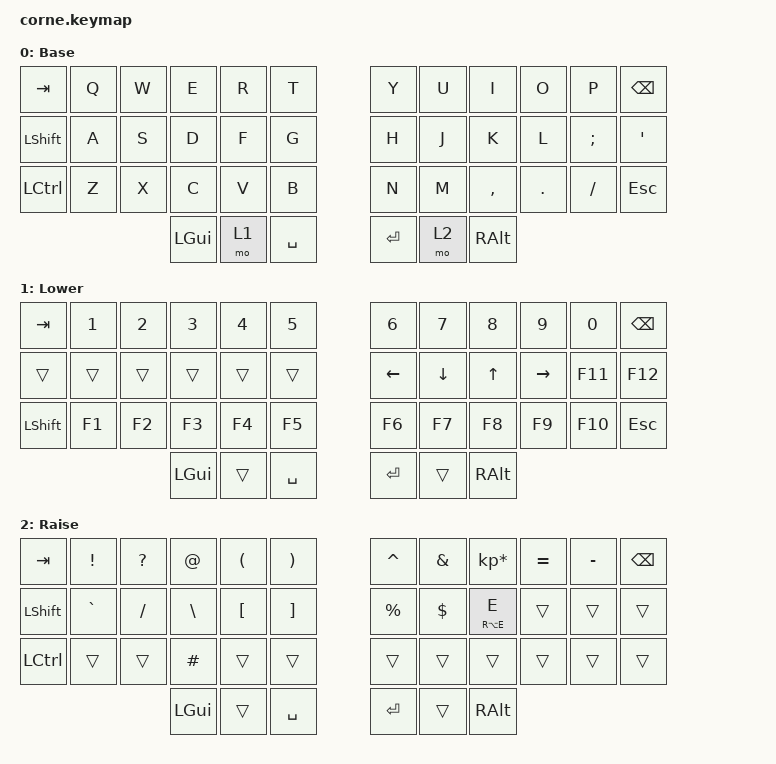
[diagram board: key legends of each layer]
/*
 * Copyright (c) 2020 The ZMK Contributors
 *
 * SPDX-License-Identifier: MIT
 */

#include <behaviors.dtsi>
#include <dt-bindings/zmk/keys.h>

/ {
    keymap {
        compatible = "zmk,keymap";

        default_layer {
            // -----------------------------------------------------------------------------------------
            // |  TAB |  Q  |  W  |  E  |  R  |  T  |   |  Y  |  U   |  I  |  O  |  P  | BKSP |
            // | CTRL |  A  |  S  |  D  |  F  |  G  |   |  H  |  J   |  K  |  L  |  ;  |  '   |
            // | SHFT |  Z  |  X  |  C  |  V  |  B  |   |  N  |  M   |  ,  |  .  |  /  | ESC  |
            //                    | GUI | LWR | SPC |   | ENT | RSE  | ALT |

            display-name = "Base";
            bindings = <
&kp TAB           &kp Q  &kp W  &kp E     &kp R  &kp T        &kp Y    &kp U  &kp I      &kp O    &kp P     &kp BSPC
&kp LEFT_SHIFT    &kp A  &kp S  &kp D     &kp F  &kp G        &kp H    &kp J  &kp K      &kp L    &kp SEMI  &kp SQT
&kp LEFT_CONTROL  &kp Z  &kp X  &kp C     &kp V  &kp B        &kp N    &kp M  &kp COMMA  &kp DOT  &kp FSLH  &kp ESC
                                &kp LGUI  &mo 1  &kp SPACE    &kp RET  &mo 2  &kp RALT
            >;
        };

        lower_layer {
            // -----------------------------------------------------------------------------------------
            // |  TAB |  1  |  2  |  3  |  4  |  5  |   |  6  |  7  |  8  |  9  |  0  | BKSP |
            // | BTCLR| BT1 | BT2 | BT3 | BT4 | BT5 |   | LFT | DWN |  UP | RGT |     |      |
            // | SHFT |     |     |     |     |     |   |     |     |     |     |     |      |
            //                    | GUI |     | SPC |   | ENT |     | ALT |

            display-name = "Lower";
            bindings = <
&kp TAB    &kp N1  &kp N2  &kp N3    &kp N4  &kp N5       &kp N6    &kp N7    &kp N8    &kp N9     &kp N0   &kp BSPC
&trans     &trans  &trans  &trans    &trans  &trans       &kp LEFT  &kp DOWN  &kp UP    &kp RIGHT  &kp F11  &kp F12
&kp LSHFT  &kp F1  &kp F2  &kp F3    &kp F4  &kp F5       &kp F6    &kp F7    &kp F8    &kp F9     &kp F10  &kp ESCAPE
                           &kp LGUI  &trans  &kp SPACE    &kp RET   &trans    &kp RALT
            >;
        };

        raise_layer {
            // -----------------------------------------------------------------------------------------
            // |  TAB |  !  |  @  |  #  |  $  |  %  |   |  ^  |  &  |  *  |  (  |  )  | BKSP |
            // | CTRL |     |     |     |     |     |   |  -  |  =  |  [  |  ]  |  \  |  `   |
            // | SHFT |     |     |     |     |     |   |  _  |  +  |  {  |  }  | "|" |  ~   |
            //                    | GUI |     | SPC |   | ENT |     | ALT |

            display-name = "Raise";
            bindings = <
&kp TAB           &kp EXCLAMATION  &kp QUESTION  &kp AT    &kp LEFT_PARENTHESIS  &kp RIGHT_PARENTHESIS    &kp CARET    &kp AMPS    &kp KP_MULTIPLY  &kp EQUAL  &kp MINUS  &kp BSPC
&kp LEFT_SHIFT    &kp GRAVE        &kp SLASH     &kp BSLH  &kp LEFT_BRACKET      &kp RIGHT_BRACKET        &kp PERCENT  &kp DOLLAR  &mt RA(E) E      &trans     &trans     &trans
&kp LEFT_CONTROL  &trans           &trans        &kp HASH  &trans                &trans                   &trans       &trans      &trans           &trans     &trans     &trans
                                                 &kp LGUI  &trans                &kp SPACE                &kp RET      &trans      &kp RALT
            >;
        };
    };
};
